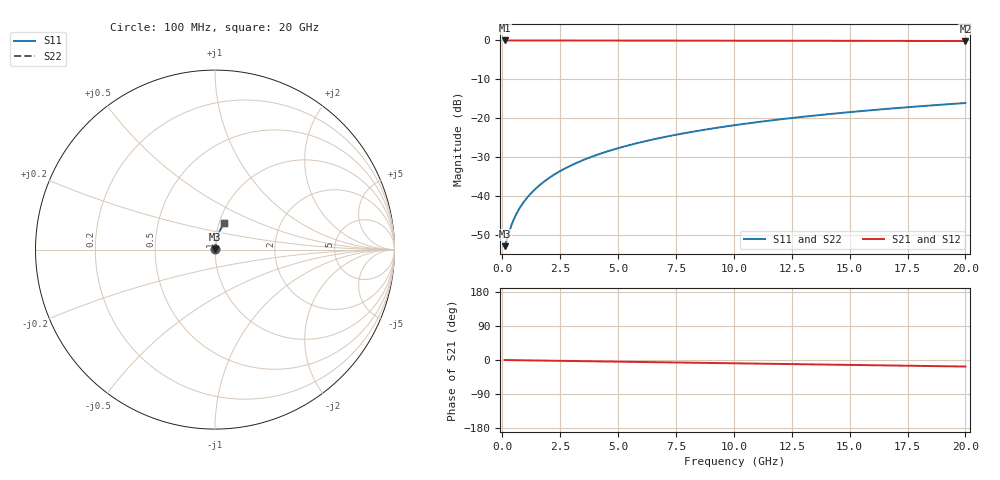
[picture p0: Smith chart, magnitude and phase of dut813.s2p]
! Touchstone file exported from HFSS 2026.1.0
!  File:  C:/ffzhzh/LocalFiles/Ansys_Project_Files/temp_train_BSMRDL_813_1783169913_22436.aedt
!  Generated:  08:59:44 PM Jul  4, 2026
!  Design:  BSMRDL
!  Project:  temp_train_BSMRDL_813_1783169913_22436
! Variables:
!  h_bsmrdl = 2.51um
!  h_ox = 20um
!  h_rdl = 5um
!  h_sub = 80um
!  h_tmrdl = 5um
!  h_tsv = 80um
!  h_via = 3um
!  l_bsmrdl = 235.61um
!  l_sub = 635.61um
!  l_tmrdl = 200um
!  m_sub = 200um
!  pitch = 34.65um
!  r_tsv = 6um
!  s_tmrdl = 10um
!  w_bsmrdl = 18.52um
!  w_sub = 500um
!  w_tmrdl = 12um
!  x_tsv_center1 = 206um
!  x_tsv_center2 = 460.13um
!  x_tsv_center3 = 672.13um
!  x_tsv_center4 = 926.26um
!  x_tsv_center5 = 1138.26um
!  x_tsv_center6 = 1392.39um
# GHz S MA R 50.000000
! Terminal data exported
! Port[1] = BSM_RDL1_1_T1
! Port[2] = BSM_RDL1_1_T2
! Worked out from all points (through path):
!   200 points, 100 MHz to 20 GHz, reference 50 ohm
!   highest |S21| = -0.02 dB at 100 MHz (marker M1); lowest = -0.2 dB at 20 GHz (marker M2)
!   group delay of S21, straight-line fit = 2.39 ps
!   lowest |S11| = -52.8 dB at 100 MHz (marker M3), VSWR 1.00, Z = 50.2 + j0.0937 ohm
!   |S11| at or under -10 dB: start of sweep to end of sweep
!   |S22| runs from -52.8 to -16.1 dB; largest |S21 - S12| = 2.7e-15
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0.1  0.002288 24.1  0.9979 -0.1  0.9979 -0.1  0.002288 24.1
! Gamma 0 0 0 0
! Port Impedance 50 0 50 0
0.3  0.003529 51.3  0.9978 -0.3  0.9978 -0.3  0.003529 51.3
0.4  0.004291 57.8  0.9977 -0.4  0.9977 -0.4  0.004291 57.8
0.5  0.005074 62.2  0.9976 -0.5  0.9976 -0.5  0.005074 62.2
0.6  0.005862 65.3  0.9976 -0.5  0.9976 -0.5  0.005862 65.3
0.7  0.006651 67.7  0.9975 -0.6  0.9975 -0.6  0.006651 67.7
0.9  0.008228 71.1  0.9974 -0.8  0.9974 -0.8  0.008228 71.1
1.2  0.0106 74.4  0.9973 -1.1  0.9973 -1.1  0.0106 74.4
1.4  0.01219 75.9  0.9972 -1.2  0.9972 -1.2  0.01219 75.9
1.7  0.01459 77.6  0.9972 -1.5  0.9972 -1.5  0.01459 77.6
2.2  0.01862 79.3  0.997 -1.9  0.997 -1.9  0.01862 79.3
2.8  0.02348 80.4  0.9968 -2.5  0.9968 -2.5  0.02348 80.4
3.5  0.02917 81.0  0.9966 -3.1  0.9966 -3.1  0.02917 81.0
4.2  0.03487 81.2  0.9963 -3.7  0.9963 -3.7  0.03487 81.2
5  0.04137 81.1  0.9959 -4.4  0.9959 -4.4  0.04137 81.1
5.9  0.04866 80.8  0.9954 -5.2  0.9954 -5.2  0.04866 80.8
6.8  0.05592 80.3  0.9949 -6.0  0.9949 -6.0  0.05592 80.4
8.3  0.06793 79.4  0.9938 -7.3  0.9938 -7.3  0.06793 79.4
10.1  0.08219 78.1  0.9923 -8.8  0.9923 -8.8  0.08219 78.1
13.4  0.1079 75.6  0.9891 -11.7  0.9891 -11.7  0.1078 75.6
16.7  0.1329 73.0  0.9853 -14.5  0.9853 -14.5  0.1329 73.0
20  0.1572 70.4  0.9811 -17.2  0.9811 -17.2  0.1572 70.4
